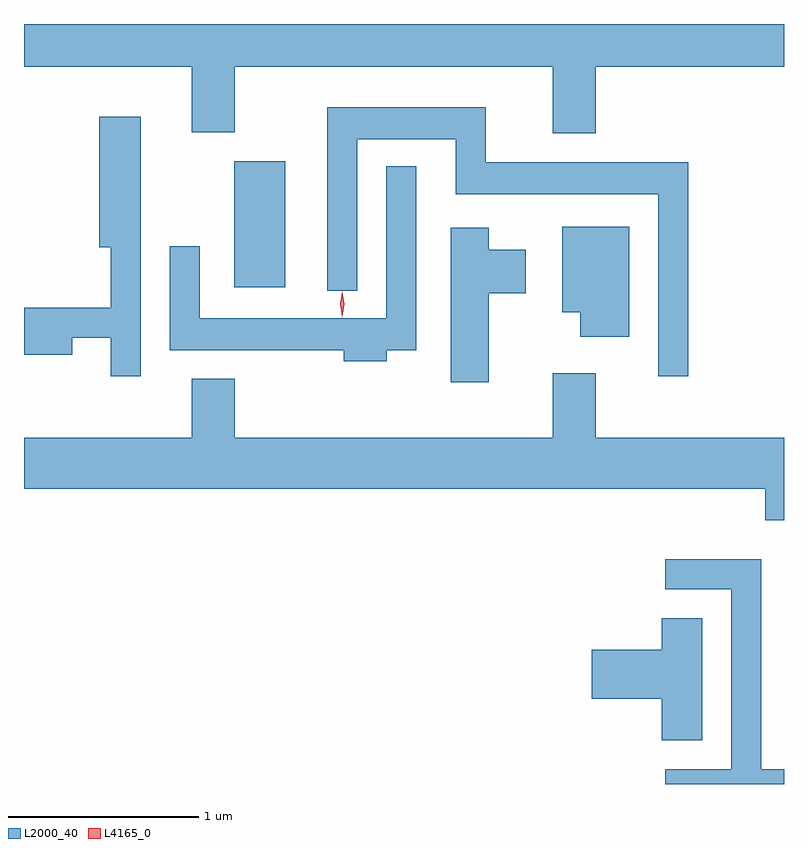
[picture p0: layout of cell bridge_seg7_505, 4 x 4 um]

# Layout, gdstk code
import gdstk
lib = gdstk.Library(unit=1e-6, precision=1e-09)
def R(c, l, rs):  # rectangles x0, y0, x1, y1
    for r in rs: c.add(gdstk.rectangle(r[:2], r[2:], *l))
def P(c, l, *ps):  # polygons
    for p in ps: c.add(gdstk.Polygon(p, *l))
L2000_40 = (2000, 40)
L4165_0 = (4165, 0)

bridge_seg7_505 = lib.new_cell('bridge_seg7_505')
R(bridge_seg7_505, L2000_40, [(1284.566,1673.196,1284.834,1673.859)])
P(bridge_seg7_505, L2000_40, [(1286.469,1674.356),(1287.459,1674.356),(1287.459,1674.582),(1283.459,1674.582),(1283.459,1674.356),(1284.341,1674.356),(1284.341,1674.011),(1284.569,1674.011),(1284.569,1674.356),(1286.241,1674.356),(1286.241,1674.006),(1286.469,1674.006)],
  [(1286.954,1673.854),(1285.889,1673.854),(1285.889,1674.144),(1285.056,1674.144),(1285.056,1673.178),(1285.214,1673.178),(1285.214,1673.976),(1285.731,1673.976),(1285.731,1673.686),(1286.796,1673.686),(1286.796,1672.728),(1286.954,1672.728)],
  [(1284.074,1674.094),(1283.856,1674.094),(1283.856,1673.406),(1283.916,1673.406),(1283.916,1673.089),(1283.459,1673.089),(1283.459,1672.841),(1283.714,1672.841),(1283.714,1672.931),(1283.916,1672.931),(1283.916,1672.728),(1284.074,1672.728)],
  [(1285.369,1672.866),(1285.524,1672.866),(1285.524,1673.833),(1285.366,1673.833),(1285.366,1673.034),(1284.384,1673.034),(1284.384,1673.413),(1284.226,1673.413),(1284.226,1672.866),(1285.141,1672.866),(1285.141,1672.806),(1285.369,1672.806)],
  [(1286.644,1673.514),(1286.291,1673.514),(1286.291,1673.066),(1286.386,1673.066),(1286.386,1672.936),(1286.644,1672.936)],
  [(1285.904,1673.166),(1286.099,1673.166),(1286.099,1673.394),(1285.904,1673.394),(1285.904,1673.509),(1285.706,1673.509),(1285.706,1672.696),(1285.904,1672.696)],
  [(1287.459,1672.404),(1286.469,1672.404),(1286.469,1672.744),(1286.241,1672.744),(1286.241,1672.404),(1284.569,1672.404),(1284.569,1672.714),(1284.341,1672.714),(1284.341,1672.404),(1283.459,1672.404),(1283.459,1672.136),(1287.361,1672.136),(1287.361,1671.971),(1287.459,1671.971)],
  [(1287.459,1670.659),(1287.339,1670.659),(1287.339,1671.764),(1286.833,1671.764),(1286.833,1671.606),(1287.181,1671.606),(1287.181,1670.659),(1286.833,1670.659),(1286.833,1670.582),(1287.459,1670.582)],
  [(1287.029,1671.454),(1286.816,1671.454),(1286.816,1671.289),(1286.446,1671.289),(1286.446,1671.031),(1286.816,1671.031),(1286.816,1670.811),(1287.029,1670.811)])
P(bridge_seg7_505, L4165_0, [(1285.134,1673.039),(1285.134,1673.04),(1285.124,1673.106),(1285.134,1673.172),(1285.134,1673.173),(1285.135,1673.172),(1285.144,1673.106),(1285.135,1673.04)])

lib.write_gds('bridge_seg7_505.gds')
